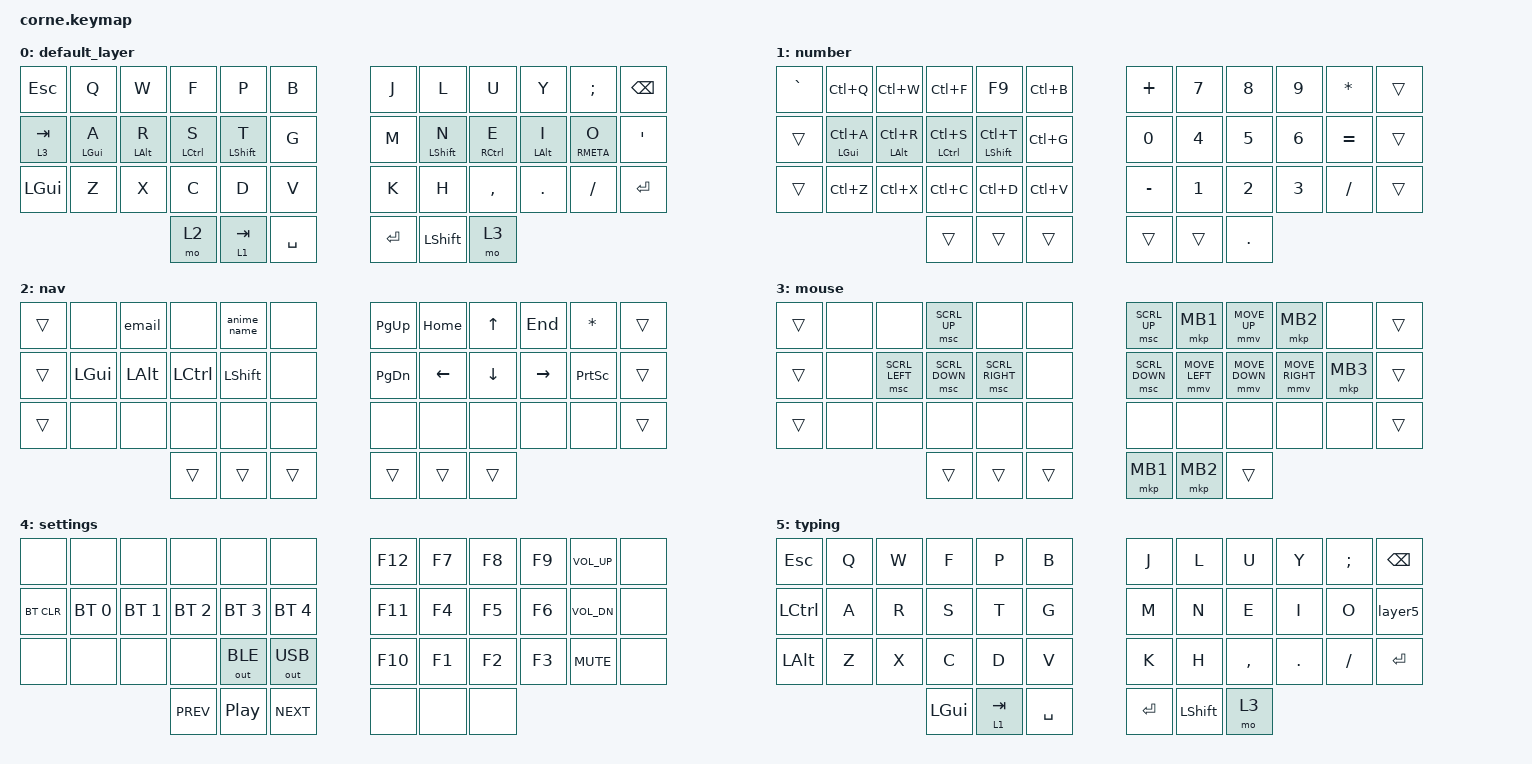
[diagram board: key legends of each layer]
#define ZMK_POINTING_DEFAULT_MOVE_VAL 1500
#define ZMK_POINTING_DEFAULT_SCRL_VAL 15

#include <behaviors.dtsi>
#include <dt-bindings/zmk/bt.h>
#include <dt-bindings/zmk/keys.h>
#include <dt-bindings/zmk/outputs.h>
#include <dt-bindings/zmk/pointing.h>

#define KEYS_L 0 1 2 3 4 5 12 13 14 15 16 17 24 25 26 27 28 29 36 37 38  // left-hand keys
#define KEYS_R 6 7 8 9 10 11 18 19 20 21 22 23 30 31 32 33 34 35 39 40 41  // right-hand keys
#define THUMBS 36 37 38 39 40 41
#define DEFAULT        0
#define NUMBER         1
#define SYMBOL         2
#define NAV            3
#define SETTINGS       4

/ {
    behaviors {
        bhml: balanced_homerow_mods_left {
            compatible = "zmk,behavior-hold-tap";
            label = "BALANCED_HOMEROW_MODS_LEFT";
            #binding-cells = <2>;
            tapping-term-ms = <280>;    // <---[[moderate duration]]
            quick-tap-ms = <125>;
            flavor = "balanced";
            bindings = <&kp>, <&kp>;

            hold-trigger-key-positions = <KEYS_R THUMBS>;
            global-quick-tap;
            hold-trigger-on-release;
        };

        bhmr: balanced_homerow_mods_right {
            compatible = "zmk,behavior-hold-tap";
            label = "BALANCED_HOMEROW_MODS_RIGHT";
            #binding-cells = <2>;
            tapping-term-ms = <280>;    // <---[[moderate duration]]
            quick-tap-ms = <125>;
            flavor = "balanced";
            bindings = <&kp>, <&kp>;

            hold-trigger-key-positions = <KEYS_L THUMBS>;
            global-quick-tap;
            hold-trigger-on-release;
        };
    };

    combos {
        compatible = "zmk,combos";

        settings_layer {
            timeout-ms = <50>;
            key-positions = <0 1>;
            bindings = <&mo 4>;
        };

        copy {
            bindings = <&kp LC(C)>;  // Ctrl+C
            key-positions = <27 26>;
        };

        paste {
            bindings = <&kp LC(V)>;  // Ctrl+V
            key-positions = <27 28>;
        };

        enter {
            bindings = <&kp ENTER>;
            key-positions = <29 28>;
        };

        undo {
            bindings = <&kp LC(Z)>;
            key-positions = <25 26>;
        };

        redo {
            bindings = <&kp LC(LS(Z))>;
            key-positions = <25 26 27>;
        };

        Del {
            bindings = <&kp DELETE>;
            key-positions = <10 11>;
        };

        typing {
            bindings = <&tog 5>;
            key-positions = <36 41>;
        };

        close {
            bindings = <&kp LA(F4)>;
            key-positions = <4 2>;
        };

        closew {
            bindings = <&kp LC(W)>;
            key-positions = <3 4>;
        };

        taskmanager {
            bindings = <&kp LC(LS(ESCAPE))>;
            key-positions = <0 12>;
        };

        del2 {
            bindings = <&kp DEL>;
            key-positions = <3 5>;
        };

        cut {
            bindings = <&kp LC(X)>;
            key-positions = <26 28>;
        };
    };

    macros {
        email: email {
            compatible = "zmk,behavior-macro";
            #binding-cells = <0>;
            bindings = <&kp A &kp B &kp H &kp A &kp Y &kp N5 &kp N2 &kp N4 &kp N3 &kp N1 &kp AT &kp G &kp M &kp A &kp I &kp L &kp DOT &kp C &kp O &kp M>;
            label = "EMAIL";
        };

        layer5: layer_5_is_on {
            compatible = "zmk,behavior-macro";
            #binding-cells = <0>;
            bindings = <&kp N5 &kp T &kp H &kp DOT>;
            label = "LAYER_5_IS_ON";
        };

        anime_name: anime_name {
            compatible = "zmk,behavior-macro";
            #binding-cells = <0>;
            bindings = <&kp LS(A) &kp N &kp I &kp M &kp E &kp COLON &kp SPACE &kp RET &kp LS(S) &kp O &kp N &kp G &kp COLON &kp SPACE>;
            label = "ANIME_NAME";
        };
    };

    keymap {
        compatible = "zmk,keymap";

        default_layer {
            bindings = <
&kp ESCAPE    &kp Q             &kp W         &kp F          &kp P          &kp B        &kp J      &kp L           &kp U          &kp Y         &kp SEMI       &kp BSPC
&lt 3 TAB     &bhml LEFT_GUI A  &bhml LALT R  &bhml LCTRL S  &bhml LSHFT T  &kp G        &kp M      &bhmr LSHFT N   &bhmr RCTRL E  &bhmr LALT I  &bhmr RMETA O  &kp SQT
&kp LEFT_GUI  &kp Z             &kp X         &kp C          &kp D          &kp V        &kp K      &kp H           &kp COMMA      &kp DOT       &kp FSLH       &kp ENTER
                                              &mo 2          &lt 1 TAB      &kp SPACE    &kp ENTER  &kp LEFT_SHIFT  &mo 3
            >;
        };

        number {
            bindings = <
&kp GRAVE  &kp LC(Q)         &kp LC(W)         &kp LC(F)          &kp F9             &kp LC(B)    &kp PLUS   &kp N7  &kp N8      &kp N9  &kp ASTERISK  &trans
&trans     &bhml LGUI LC(A)  &bhml LALT LC(R)  &bhml LCTRL LC(S)  &bhml LSHFT LC(T)  &kp LC(G)    &kp N0     &kp N4  &kp N5      &kp N6  &kp EQUAL     &trans
&trans     &kp LC(Z)         &kp LC(X)         &kp LC(C)          &kp LC(D)          &kp LC(V)    &kp MINUS  &kp N1  &kp N2      &kp N3  &kp SLASH     &trans
                                               &trans             &trans             &trans       &trans     &trans  &kp PERIOD
            >;
        };

        nav {
            bindings = <
&trans  &none     &email    &none      &anime_name  &none     &kp PAGE_UP    &kp HOME        &kp UP_ARROW    &kp END    &kp ASTERISK     &trans
&trans  &kp LGUI  &kp LALT  &kp LCTRL  &kp LSHFT    &none     &kp PAGE_DOWN  &kp LEFT_ARROW  &kp DOWN_ARROW  &kp RIGHT  &kp PRINTSCREEN  &trans
&trans  &none     &none     &none      &none        &none     &none          &none           &none           &none      &none            &trans
                            &trans     &trans       &trans    &trans         &trans          &trans
            >;
        };

        mouse {
            bindings = <
&trans  &none  &none           &msc SCRL_UP    &none            &none     &msc SCRL_UP    &mkp MB1        &mmv MOVE_UP    &mkp MB2         &none     &trans
&trans  &none  &msc SCRL_LEFT  &msc SCRL_DOWN  &msc SCRL_RIGHT  &none     &msc SCRL_DOWN  &mmv MOVE_LEFT  &mmv MOVE_DOWN  &mmv MOVE_RIGHT  &mkp MB3  &trans
&trans  &none  &none           &none           &none            &none     &none           &none           &none           &none            &none     &trans
                               &trans          &trans           &trans    &mkp MB1        &mkp MB2        &trans
            >;
        };

        settings {
            bindings = <
&none       &none         &none         &none         &none         &none           &kp F12  &kp F7  &kp F8  &kp F9  &kp C_VOL_UP  &none
&bt BT_CLR  &bt BT_SEL 0  &bt BT_SEL 1  &bt BT_SEL 2  &bt BT_SEL 3  &bt BT_SEL 4    &kp F11  &kp F4  &kp F5  &kp F6  &kp C_VOL_DN  &none
&none       &none         &none         &none         &out OUT_BLE  &out OUT_USB    &kp F10  &kp F1  &kp F2  &kp F3  &kp C_MUTE    &none
                                        &kp C_PREV    &kp C_PP      &kp C_NEXT      &none    &none   &none
            >;
        };

        typing {
            bindings = <
&kp ESCAPE        &kp Q  &kp W  &kp F         &kp P      &kp B        &kp J      &kp L      &kp U      &kp Y    &kp SEMI  &kp BSPC
&kp LEFT_CONTROL  &kp A  &kp R  &kp S         &kp T      &kp G        &kp M      &kp N      &kp E      &kp I    &kp O     &layer5
&kp LEFT_ALT      &kp Z  &kp X  &kp C         &kp D      &kp V        &kp K      &kp H      &kp COMMA  &kp DOT  &kp FSLH  &kp ENTER
                                &kp LEFT_GUI  &lt 1 TAB  &kp SPACE    &kp ENTER  &kp LSHFT  &mo 3
            >;
        };
    };
};
